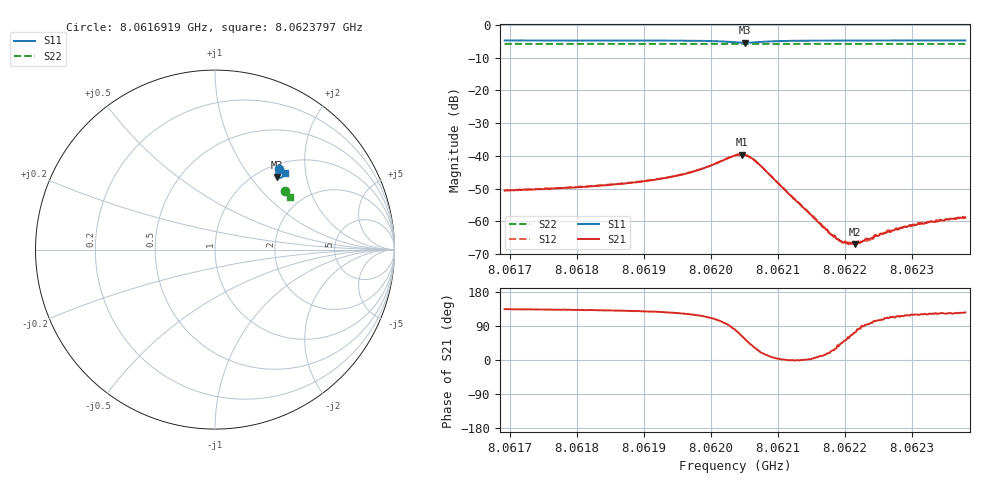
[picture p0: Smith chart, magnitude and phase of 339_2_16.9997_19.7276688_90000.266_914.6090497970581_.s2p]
#  HZ  S  RI  R  50.00
! Rohde & Schwarz Vector Network Analyzer
! Rohde-Schwarz,ZNB20-2Port,1311601062101988,3.16
! Created: UTC 3/20/2024, 11:07:14 PM
! freq[Hz]  re:S11  im:S11  re:S21  im:S21  re:S12  im:S12  re:S22  im:S22
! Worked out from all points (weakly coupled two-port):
!   401 points, 8.0616919 GHz to 8.0623797 GHz, reference 50 ohm
!   highest |S21| = -39.61 dB at 8.0620461 GHz (marker M1); lowest = -67.0 dB at 8.0622146 GHz (marker M2)
!   lowest |S11| = -5.5 dB at 8.0620513 GHz (marker M3), VSWR 3.27, Z = 60.7 + j68.4 ohm
!   |S11| at or under -10 dB: nowhere
!   |S22| runs from -5.9 to -5.8 dB; largest |S21 - S12| = 0.00068
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8.06169185e9  0.358 0.4512  -0.00204 0.00211  -0.00195 0.00224  0.3914 0.3291
8.06180707e9  0.3658 0.4445  -0.00224 0.00247  -0.00211 0.00266  0.396 0.3235
8.06187757e9  0.371 0.4395  -0.00245 0.00296  -0.00228 0.00316  0.3986 0.32
8.06192228e9  0.3748 0.4351  -0.00264 0.0035  -0.00247 0.0037  0.4002 0.3176
8.06197215e9  0.379 0.4267  -0.00283 0.00493  -0.00252 0.00514  0.4021 0.3148
8.06203578e9  0.3647 0.3994  0.0017 0.00992  0.00236 0.00987  0.4034 0.3107
8.0620461e9  0.3524 0.4003  0.00473 0.00933  0.00513 0.00911  0.4031 0.3106
8.06205126e9  0.3465 0.4037  0.00595 0.00834  0.00632 0.00809  0.403 0.3106
8.06206157e9  0.34 0.4151  0.00715 0.00563  0.00755 0.00511  0.4034 0.3107
8.06207361e9  0.3415 0.4277  0.00662 0.00251  0.00676 0.00228  0.404 0.3106
8.06215099e9  0.3684 0.4382  0.0012 8.45e-05  0.00123 -1.06e-05  0.4081 0.3071
8.06217851e9  0.3727 0.4366  0.000597 0.000244  0.000633 0.000245  0.4093 0.3057
8.06219055e9  0.3741 0.4357  0.000421 0.000312  0.000452 0.000251  0.4095 0.3049
8.0622043e9  0.3757 0.435  0.000229 0.000403  0.000262 0.000368  0.4101 0.3043
8.06221462e9  0.3768 0.4343  0.000135 0.000426  0.000181 0.000429  0.4105 0.3039
8.06223698e9  0.379 0.4329  -5.53e-05 0.000537  -8.07e-06 0.000515  0.4113 0.3025
8.06224557e9  0.3797 0.4324  -0.000131 0.0006  -9.92e-05 0.000616  0.4116 0.3022
8.06226621e9  0.3814 0.4312  -0.000246 0.000643  -0.00023 0.000695  0.4124 0.301
8.0623006e9  0.3841 0.4291  -0.000435 0.000763  -0.000365 0.000809  0.4137 0.2993
8.06231092e9  0.3848 0.4286  -0.000435 0.000787  -0.000439 0.000847  0.4139 0.2988
8.06233499e9  0.3864 0.4272  -0.000546 0.000811  -0.000498 0.000899  0.4148 0.2976
8.0623797e9  0.3895 0.4249  -0.000666 0.000934  -0.00059 0.000972  0.4164 0.2953
